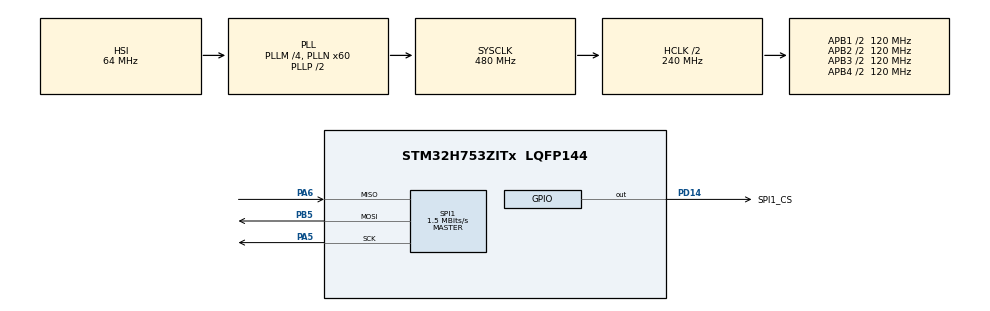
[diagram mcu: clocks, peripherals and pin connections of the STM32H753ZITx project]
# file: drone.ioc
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CORTEX_M7.CPU_DCache=Disabled
CORTEX_M7.CPU_ICache=Disabled
CORTEX_M7.MPU_Control=__NULL
CORTEX_M7.default_mode_Activation=1
Mcu.Family=STM32H7
Mcu.Name=STM32H753ZITx
Mcu.Package=LQFP144
NUCLEO-H753ZI.BUTTON=1
NUCLEO-H753ZI.Bsp_Common_DEMO=true
NUCLEO-H753ZI.LD1=true
NUCLEO-H753ZI.LD2=true
NUCLEO-H753ZI.LD3=true
NUCLEO-H753ZI.VCP=true
NVIC.EXTI15_10_IRQn=true\:0\:0\:false\:false\:true\:false\:true\:true
NVIC.PriorityGroup=NVIC_PRIORITYGROUP_4
PA5.Mode=Full_Duplex_Master
PA5.Signal=SPI1_SCK
PA6.Mode=Full_Duplex_Master
PA6.Signal=SPI1_MISO
PB5.Mode=Full_Duplex_Master
PB5.Signal=SPI1_MOSI
PC14-OSC32_IN\ (OSC32_IN).Signal=RCC_OSC32_IN
PC15-OSC32_OUT\ (OSC32_OUT).Signal=RCC_OSC32_OUT
PD14.GPIO_Label=SPI1_CS
PD14.Signal=GPIO_Output
PD8.Signal=USART3_TX
PD9.Signal=USART3_RX
PH0-OSC_IN\ (PH0).Signal=RCC_OSC_IN
PH1-OSC_OUT\ (PH1).Signal=RCC_OSC_OUT
ProjectManager.HeapSize=0x200
ProjectManager.StackSize=0x400
ProjectManager.TargetToolchain=STM32CubeIDE
RCC.ADCFreq_Value=129000000
RCC.APB1Freq_Value=120000000
RCC.APB2Freq_Value=120000000
RCC.APB3Freq_Value=120000000
RCC.APB4Freq_Value=120000000
RCC.CortexFreq_Value=480000000
RCC.D1PPRE=RCC_APB3_DIV2
RCC.D2PPRE1=RCC_APB1_DIV2
RCC.D2PPRE2=RCC_APB2_DIV2
RCC.D3PPRE=RCC_APB4_DIV2
RCC.DIVM1=4
RCC.DIVN1=60
RCC.DIVQ1=5
RCC.HCLKFreq_Value=240000000
RCC.HPRE=RCC_HCLK_DIV2
RCC.HSE_VALUE=8000000
RCC.PLL2FRACN=0
RCC.PLL3FRACN=0
RCC.PLLFRACN=0
RCC.PWR_Regulator_Voltage_Scale=PWR_REGULATOR_VOLTAGE_SCALE0
RCC.SYSCLKFreq_VALUE=480000000
RCC.SYSCLKSource=RCC_SYSCLKSOURCE_PLLCLK
RCC.USBFreq_Value=192000000
SPI1.BaudRatePrescaler=SPI_BAUDRATEPRESCALER_128
SPI1.CalculateBaudRate=1.5 MBits/s
SPI1.DataSize=SPI_DATASIZE_8BIT
SPI1.Direction=SPI_DIRECTION_2LINES
SPI1.Mode=SPI_MODE_MASTER
SPI1.VirtualType=VM_MASTER
VP_MEMORYMAP_VS_MEMORYMAP.Mode=CurAppReg
VP_NUCLEO-H753ZI_VS_BSP_COMMON.Mode=COMMON
board=NUCLEO-H753ZI

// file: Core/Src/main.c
/* USER CODE BEGIN Header */
/**
  ******************************************************************************
  * @file           : main.c
  * @brief          : Main program body
  ******************************************************************************
  * @attention
  *
  * Copyright (c) 2026 STMicroelectronics.
  * All rights reserved.
  *
  * This software is licensed under terms that can be found in the LICENSE file
  * in the root directory of this software component.
  * If no LICENSE file comes with this software, it is provided AS-IS.
  *
  ******************************************************************************
  */
/* USER CODE END Header */
#include "main.h"

COM_InitTypeDef BspCOMInit;
__IO uint32_t BspButtonState = BUTTON_RELEASED;

SPI_HandleTypeDef hspi1;

void SystemClock_Config(void);
static void MX_GPIO_Init(void);
static void MX_SPI1_Init(void);

/* USER CODE BEGIN 0 */
#define WHO_AM_I_REG     0x75    /* Bank 0, ICM-42688-P */
#define TEMP_DATA1_REG   0x1D    /* TEMP_DATA[15:8] */
#define PWR_MGMT0_REG    0x4E
#define READ_FLAG        0x80    /* SPI address bit 7: 1 = read */
#define PWR_MGMT0_ACCEL_GYRO_LN  0x0F /* gyro LN | accel LN; TEMP_DIS=0 */
#define ICM_SPI_TIMEOUT_MS  20U

static HAL_StatusTypeDef icm_xfer(uint8_t *tx, uint8_t *rx, uint16_t len)
{
  HAL_GPIO_WritePin(SPI1_CS_GPIO_Port, SPI1_CS_Pin, GPIO_PIN_RESET);
  HAL_StatusTypeDef status = HAL_SPI_TransmitReceive(&hspi1, tx, rx, len, ICM_SPI_TIMEOUT_MS);
  HAL_GPIO_WritePin(SPI1_CS_GPIO_Port, SPI1_CS_Pin, GPIO_PIN_SET);

  if (status != HAL_OK)
  {
    HAL_SPI_Abort(&hspi1);
    HAL_GPIO_WritePin(SPI1_CS_GPIO_Port, SPI1_CS_Pin, GPIO_PIN_SET);
  }
  return status;
}

static HAL_StatusTypeDef icm_write(uint8_t reg, uint8_t value)
{
  uint8_t tx[2] = {reg, value};
  uint8_t rx[2] = {0};
  return icm_xfer(tx, rx, 2);
}

static HAL_StatusTypeDef icm_read(uint8_t start_reg, uint8_t *data, uint16_t len)
{
  uint8_t tx[17] = {0};
  uint8_t rx[17] = {0};

  if ((len == 0U) || (len > 16U))
  {
    return HAL_ERROR;
  }

  tx[0] = start_reg | READ_FLAG;
  HAL_StatusTypeDef status = icm_xfer(tx, rx, (uint16_t)(len + 1U));
  if (status == HAL_OK)
  {
    for (uint16_t i = 0; i < len; i++)
    {
      data[i] = rx[i + 1U];
    }
  }
  return status;
}

uint8_t readWhoAmI(void)
{
  uint8_t who = 0xFF;
  if (icm_read(WHO_AM_I_REG, &who, 1) != HAL_OK)
  {
    return 0xFF;
  }
  return who;
}

HAL_StatusTypeDef icm_wake_for_temp(void)
{
  HAL_StatusTypeDef status = icm_write(PWR_MGMT0_REG, PWR_MGMT0_ACCEL_GYRO_LN);
  if (status != HAL_OK)
  {
    return status;
  }
  HAL_Delay(1);  /* >= 200 us after leaving OFF before further writes */
  HAL_Delay(45); /* gyro must stay ON >= 45 ms before it is reliable */
  return HAL_OK;
}

float readTemp(void)
{
  uint8_t raw[2] = {0};

  if (icm_read(TEMP_DATA1_REG, raw, 2) != HAL_OK)
  {
    return 0.0f;
  }

  int16_t temp_data = (int16_t)(((uint16_t)raw[0] << 8) | raw[1]);
  return ((float)temp_data / 132.48f) + 25.0f;
}
/* USER CODE END 0 */

typedef struct VecFloat{
	float x, y, z;
} VecFloat;

typedef struct {
	float temp;
	VecFloat accel;
	VecFloat gyro;
	int16_t timestamp;
} IMUReading;

int16_t be16(uint8_t* raw)
{
	return (int16_t)((uint16_t)raw[0] << 8) | raw[1];
}

float accel(uint8_t* raw)
{
	return (float)be16(raw) / 2048.0f * 9.81f;
}

float gyro(uint8_t* raw)
{
	return (float)be16(raw) / 16.4f;
}

IMUReading readIMU(void)
{
	  uint8_t raw[16];
	  IMUReading reading = {0};

	  if (icm_read(TEMP_DATA1_REG, raw, 16) != HAL_OK)
	  {
	    return reading;
	  }

	  reading.temp = ((float)be16(raw) / 132.48f) + 25.0f;
	  reading.accel.x = accel(raw + 2);
	  reading.accel.y = accel(raw + 4);
	  reading.accel.z = accel(raw + 6);
	  reading.gyro.x = gyro(raw + 8);
	  reading.gyro.y = gyro(raw + 10);
	  reading.gyro.z = gyro(raw + 12);
	  reading.timestamp = be16(raw + 14);
	  return reading;
}

int main(void)
{

  /* MCU Configuration--------------------------------------------------------*/

  /* Reset of all peripherals, Initializes the Flash interface and the Systick. */
  HAL_Init();

  /* Configure the system clock */
  SystemClock_Config();

  /* Initialize all configured peripherals */
  MX_GPIO_Init();
  MX_SPI1_Init();

  /* Initialize leds */
  BSP_LED_Init(LED_GREEN);
  BSP_LED_Init(LED_YELLOW);
  BSP_LED_Init(LED_RED);

  /* Initialize USER push-button, will be used to trigger an interrupt each time it's pressed.*/
  BSP_PB_Init(BUTTON_USER, BUTTON_MODE_EXTI);

  /* Initialize COM1 port (115200, 8 bits (7-bit data + 1 stop bit), no parity */
  BspCOMInit.BaudRate   = 115200;
  BspCOMInit.WordLength = COM_WORDLENGTH_8B;
  BspCOMInit.StopBits   = COM_STOPBITS_1;
  BspCOMInit.Parity     = COM_PARITY_NONE;
  BspCOMInit.HwFlowCtl  = COM_HWCONTROL_NONE;
  if (BSP_COM_Init(COM1, &BspCOMInit) != BSP_ERROR_NONE)
  {
    Error_Handler();
  }

  /* USER CODE BEGIN BSP */
  printf("Starting...\r\n");

  BSP_LED_On(LED_GREEN);
  BSP_LED_On(LED_YELLOW);
  BSP_LED_On(LED_RED);

  uint8_t whoAmI = readWhoAmI();
  if (whoAmI == 0x47) {
	  printf("IMU Init Success \r\n");
  } else {
	  printf("IMU Init Failed.  WHO_AM_I got 0x%02X\r\n", whoAmI);
  }

  if (icm_wake_for_temp() != HAL_OK)
  {
    printf("IMU wake failed\r\n");
  }

  /* USER CODE END BSP */

  /* Infinite loop */
  /* USER CODE BEGIN WHILE */
  while (1)
  {

    /* -- Sample board code for User push-button in interrupt mode ---- */
    if (BspButtonState == BUTTON_PRESSED)
    {
      /* Update button state */
      BspButtonState = BUTTON_RELEASED;
      /* -- Sample board code to toggle leds ---- */
      BSP_LED_Toggle(LED_GREEN);
      BSP_LED_Toggle(LED_YELLOW);
      BSP_LED_Toggle(LED_RED);

      /* ..... Perform your action ..... */
    }
    IMUReading reading = readIMU();
    printf("Temp  %.1f\r\n", reading.temp);
    printf("Accel [%.3f, %.3f, %.3f]\r\n", reading.accel.x, reading.accel.y, reading.accel.z);
    printf("Gyro  [%.3f, %.3f, %.3f]\r\n", reading.gyro.x, reading.gyro.y, reading.gyro.z);
    printf("Time  %u\r\n", reading.timestamp);
    /* USER CODE END WHILE */

  }
}

void SystemClock_Config(void)
{
  RCC_OscInitTypeDef RCC_OscInitStruct = {0};
  RCC_ClkInitTypeDef RCC_ClkInitStruct = {0};

  /** Supply configuration update enable
  */
  HAL_PWREx_ConfigSupply(PWR_LDO_SUPPLY);

  /** Configure the main internal regulator output voltage
  */
  __HAL_PWR_VOLTAGESCALING_CONFIG(PWR_REGULATOR_VOLTAGE_SCALE0);

  while(!__HAL_PWR_GET_FLAG(PWR_FLAG_VOSRDY)) {}

  /** Initializes the RCC Oscillators according to the specified parameters
  * in the RCC_OscInitTypeDef structure.
  */
  RCC_OscInitStruct.OscillatorType = RCC_OSCILLATORTYPE_HSI;
  RCC_OscInitStruct.HSIState = RCC_HSI_DIV1;
  RCC_OscInitStruct.HSICalibrationValue = RCC_HSICALIBRATION_DEFAULT;
  RCC_OscInitStruct.PLL.PLLState = RCC_PLL_ON;
  RCC_OscInitStruct.PLL.PLLSource = RCC_PLLSOURCE_HSI;
  RCC_OscInitStruct.PLL.PLLM = 4;
  RCC_OscInitStruct.PLL.PLLN = 60;
  RCC_OscInitStruct.PLL.PLLP = 2;
  RCC_OscInitStruct.PLL.PLLQ = 5;
  RCC_OscInitStruct.PLL.PLLR = 2;
  RCC_OscInitStruct.PLL.PLLRGE = RCC_PLL1VCIRANGE_3;
  RCC_OscInitStruct.PLL.PLLVCOSEL = RCC_PLL1VCOWIDE;
  RCC_OscInitStruct.PLL.PLLFRACN = 0;
  if (HAL_RCC_OscConfig(&RCC_OscInitStruct) != HAL_OK)
  {
    Error_Handler();
  }

  /** Initializes the CPU, AHB and APB buses clocks
  */
  RCC_ClkInitStruct.ClockType = RCC_CLOCKTYPE_HCLK|RCC_CLOCKTYPE_SYSCLK
                              |RCC_CLOCKTYPE_PCLK1|RCC_CLOCKTYPE_PCLK2
                              |RCC_CLOCKTYPE_D3PCLK1|RCC_CLOCKTYPE_D1PCLK1;
  RCC_ClkInitStruct.SYSCLKSource = RCC_SYSCLKSOURCE_PLLCLK;
  RCC_ClkInitStruct.SYSCLKDivider = RCC_SYSCLK_DIV1;
  RCC_ClkInitStruct.AHBCLKDivider = RCC_HCLK_DIV2;
  RCC_ClkInitStruct.APB3CLKDivider = RCC_APB3_DIV2;
  RCC_ClkInitStruct.APB1CLKDivider = RCC_APB1_DIV2;
  RCC_ClkInitStruct.APB2CLKDivider = RCC_APB2_DIV2;
  RCC_ClkInitStruct.APB4CLKDivider = RCC_APB4_DIV2;

  if (HAL_RCC_ClockConfig(&RCC_ClkInitStruct, FLASH_LATENCY_4) != HAL_OK)
  {
    Error_Handler();
  }
}

static void MX_SPI1_Init(void)
{

  /* SPI1 parameter configuration*/
  hspi1.Instance = SPI1;
  hspi1.Init.Mode = SPI_MODE_MASTER;
  hspi1.Init.Direction = SPI_DIRECTION_2LINES;
  hspi1.Init.DataSize = SPI_DATASIZE_8BIT;
  hspi1.Init.CLKPolarity = SPI_POLARITY_LOW;
  hspi1.Init.CLKPhase = SPI_PHASE_1EDGE;
  hspi1.Init.NSS = SPI_NSS_SOFT;
  hspi1.Init.BaudRatePrescaler = SPI_BAUDRATEPRESCALER_128;
  hspi1.Init.FirstBit = SPI_FIRSTBIT_MSB;
  hspi1.Init.TIMode = SPI_TIMODE_DISABLE;
  hspi1.Init.CRCCalculation = SPI_CRCCALCULATION_DISABLE;
  hspi1.Init.CRCPolynomial = 0x0;
  hspi1.Init.NSSPMode = SPI_NSS_PULSE_ENABLE;
  hspi1.Init.NSSPolarity = SPI_NSS_POLARITY_LOW;
  hspi1.Init.FifoThreshold = SPI_FIFO_THRESHOLD_01DATA;
  hspi1.Init.TxCRCInitializationPattern = SPI_CRC_INITIALIZATION_ALL_ZERO_PATTERN;
  hspi1.Init.RxCRCInitializationPattern = SPI_CRC_INITIALIZATION_ALL_ZERO_PATTERN;
  hspi1.Init.MasterSSIdleness = SPI_MASTER_SS_IDLENESS_00CYCLE;
  hspi1.Init.MasterInterDataIdleness = SPI_MASTER_INTERDATA_IDLENESS_00CYCLE;
  hspi1.Init.MasterReceiverAutoSusp = SPI_MASTER_RX_AUTOSUSP_DISABLE;
  hspi1.Init.MasterKeepIOState = SPI_MASTER_KEEP_IO_STATE_DISABLE;
  hspi1.Init.IOSwap = SPI_IO_SWAP_DISABLE;
  if (HAL_SPI_Init(&hspi1) != HAL_OK)
  {
    Error_Handler();
  }

}

static void MX_GPIO_Init(void)
{
  GPIO_InitTypeDef GPIO_InitStruct = {0};

  /* GPIO Ports Clock Enable */
  __HAL_RCC_GPIOC_CLK_ENABLE();
  __HAL_RCC_GPIOH_CLK_ENABLE();
  __HAL_RCC_GPIOA_CLK_ENABLE();
  __HAL_RCC_GPIOD_CLK_ENABLE();
  __HAL_RCC_GPIOB_CLK_ENABLE();

  /*Configure GPIO pin Output Level */
  HAL_GPIO_WritePin(SPI1_CS_GPIO_Port, SPI1_CS_Pin, GPIO_PIN_RESET);

  /*Configure GPIO pin : SPI1_CS_Pin */
  GPIO_InitStruct.Pin = SPI1_CS_Pin;
  GPIO_InitStruct.Mode = GPIO_MODE_OUTPUT_PP;
  GPIO_InitStruct.Pull = GPIO_NOPULL;
  GPIO_InitStruct.Speed = GPIO_SPEED_FREQ_LOW;
  HAL_GPIO_Init(SPI1_CS_GPIO_Port, &GPIO_InitStruct);

}

/**
  * @brief BSP Push Button callback
  * @param Button Specifies the pressed button
  * @retval None
  */
void BSP_PB_Callback(Button_TypeDef Button)
{
  if (Button == BUTTON_USER)
  {
    BspButtonState = BUTTON_PRESSED;
  }
}

void Error_Handler(void)
{
  __disable_irq();
  while (1)
  {
  }
}
